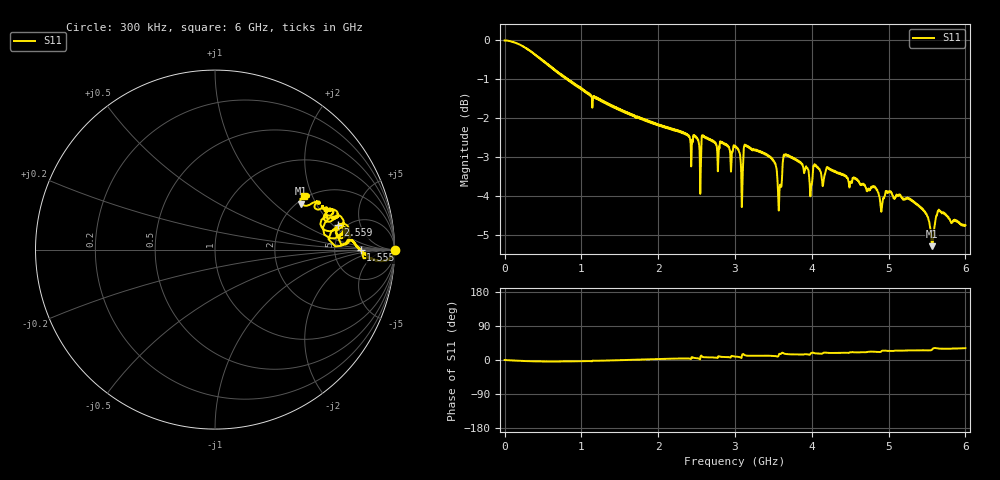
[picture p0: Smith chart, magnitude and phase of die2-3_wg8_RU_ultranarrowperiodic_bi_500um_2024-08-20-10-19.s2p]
!Keysight Technologies,P9374A,MY57304198,A.17.20.09
!Date: Tuesday, August 20, 2024 10:19:48
!Correction: S11(C  1-Port  )
!S21(C  1-Port  )
!S12(Off)
!S22(Off)
!S2P File: Measurements: S11, S21, S12, S22:
# Hz S  dB  R 50
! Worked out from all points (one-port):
!   6000 points, 300 kHz to 6 GHz, reference 50 ohm
!   lowest |S11| = -5.3 dB at 5.568 GHz (marker M1), VSWR 3.38, Z = 105 + j76.1 ohm
!   |S11| at or under -10 dB: nowhere
!   S11 on the Smith chart (normalised r, x): 300 kHz: open; 1.555 GHz: 9.63, -0.14; 2.559 GHz: 4.36, +2.34; 6 GHz: 1.93, +1.74
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300000  0.00 -0.0  -200.00 45.0  -200.00 45.0  -200.00 45.0
4.213491e8  -0.39 -3.5  -200.00 45.0  -200.00 45.0  -200.00 45.0
1.000417e9  -1.24 -3.2  -200.00 45.0  -200.00 45.0  -200.00 45.0
1.555481e9  -1.81 -0.2  -200.00 45.0  -200.00 45.0  -200.00 45.0
2.000533e9  -2.17 2.4  -200.00 45.0  -200.00 45.0  -200.00 45.0
2.517594e9  -2.55 4.4  -200.00 45.0  -200.00 45.0  -200.00 45.0
2.558598e9  -3.10 11.3  -200.00 45.0  -200.00 45.0  -200.00 45.0
3.00065e9  -2.71 9.1  -200.00 45.0  -200.00 45.0  -200.00 45.0
3.060657e9  -2.90 7.6  -200.00 45.0  -200.00 45.0  -200.00 45.0
3.123664e9  -2.69 13.0  -200.00 45.0  -200.00 45.0  -200.00 45.0
3.484707e9  -3.07 11.1  -200.00 45.0  -200.00 45.0  -200.00 45.0
3.540713e9  -3.30 9.8  -200.00 45.0  -200.00 45.0  -200.00 45.0
3.585718e9  -3.72 15.8  -200.00 45.0  -200.00 45.0  -200.00 45.0
3.627723e9  -3.05 18.2  -200.00 45.0  -200.00 45.0  -200.00 45.0
3.68273e9  -2.96 15.4  -200.00 45.0  -200.00 45.0  -200.00 45.0
4.000767e9  -3.68 18.5  -200.00 45.0  -200.00 45.0  -200.00 45.0
4.060774e9  -3.25 17.3  -200.00 45.0  -200.00 45.0  -200.00 45.0
5.000883e9  -3.91 24.2  -200.00 45.0  -200.00 45.0  -200.00 45.0
5.470938e9  -4.42 25.6  -200.00 45.0  -200.00 45.0  -200.00 45.0
5.56795e9  -5.29 28.1  -200.00 45.0  -200.00 45.0  -200.00 45.0
5.624956e9  -4.51 31.1  -200.00 45.0  -200.00 45.0  -200.00 45.0
6e9  -4.75 31.2  -200.00 45.0  -200.00 45.0  -200.00 45.0
